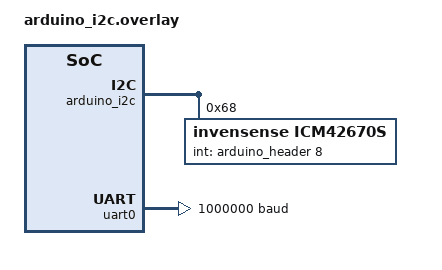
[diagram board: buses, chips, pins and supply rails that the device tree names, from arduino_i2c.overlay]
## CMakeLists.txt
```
#
# Copyright (c) 2019 TDK Invensense
#
# SPDX-License-Identifier: Apache-2.0
#

cmake_minimum_required(VERSION 3.20.0)
find_package(Zephyr REQUIRED HINTS $ENV{ZEPHYR_BASE})
project(icm42670S)

FILE(GLOB app_sources src/*.c)
target_sources(app PRIVATE ${app_sources})
```

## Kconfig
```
# Copyright (c) 2020, TDK Invensense
# SPDX-License-Identifier: Apache-2.0

config LOG
	default y

config LOG_PRINTK
	default y

config SENSOR_LOG_LEVEL
	default 4

# Enable SPI and I2C support by default so that the sample works with
# the device connected either way. These defaults can be overridden if
# needed.
config SPI
	default y

config I2C
	default y

# Enable APEX features support and choice between : 
# ICM42670S_APEX_PEDOMETER, ICM42670S_APEX_TILT, ICM42670S_APEX_SMD or ICM42670S_APEX_WOM

config ICM42670S_APEX
	default n

choice APEX_FEATURES
    default ICM42670S_APEX_PEDOMETER
endchoice

# Enable AML features support and choose the outputs :
# ICM42670S_AML_POINTING, Delta values for pointing 
# ICM42670S_AML_GESTURES, Orientation of the remote and detected swipes 
# ICM42670S_AML_GYR_OFFSET, Computed 3-axis raw gyroscope offsets
# ICM42670S_AML_QUATERNION, Computed W, X, Y and Z quaternion coefficients

config ICM42670S_AML
	default y

config ICM42670S_AML_POINTING
	default y
config ICM42670S_AML_GESTURES
	default n
config ICM42670S_AML_GYR_OFFSET
	default n
config ICM42670S_AML_QUATERNION
	default n

source "Kconfig.zephyr"
```

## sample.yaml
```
sample:
  name: ICM42670S Sensor sample
tests:
  sample.sensor.icm42670S:
    harness: console
    tags: sensors
    platform_allow:
      - arduino_zero
      - nrf52dk_nrf52832
    integration_platforms:
      - arduino_zero
      - nrf52dk_nrf52832
    harness_config:
      type: one_line
      regex:
        - "accel: (.*); gyro: (.*);"
      fixture: fixture_i2c_icm42670S
  sample.sensor.icm42670S.spi:
    harness: console
    tags: sensors
    depends_on:
      - spi
      - icm42670S
    extra_args: "DTC_OVERLAY_FILE=arduino_spi.overlay"
    harness_config:
      type: one_line
      regex:
        - "accel: (.*); gyro: (.*);"
      fixture: fixture_spi_icm42670S
   sample.sensor.icm42670S.i2c:
    harness: console
    tags: sensors
    depends_on:
      - i2c
      - icm42670S
    extra_args: "DTC_OVERLAY_FILE=arduino_i2c.overlay"
    harness_config:
      type: one_line
      regex:
        - "accel: (.*); gyro: (.*);"
      fixture: fixture_i2c_icm42670S
```

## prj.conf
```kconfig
#
# Copyright (c) 2019 TDK Invensense
#
# SPDX-License-Identifier: Apache-2.0
#

CONFIG_SENSOR=y

# Floating point format support
# Selecting this increases stack size requirements slightly, but increases code size significantly.
CONFIG_CBPRINTF_FP_SUPPORT=y

# Buffer size for console. The defaults are optimized to save RAM
CONFIG_CONSOLE_SUBSYS=y
CONFIG_CONSOLE_GETCHAR=y
CONFIG_CONSOLE_GETCHAR_BUFSIZE=16
CONFIG_CONSOLE_PUTCHAR_BUFSIZE=512
```

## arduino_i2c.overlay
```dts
/*
 * Copyright (c) 2020, TDK Invensense
 *
 * SPDX-License-Identifier: Apache-2.0
 */

/*
 * Example configuration of a ICM42670S device on an Arduino I2C bus.
 *
 * Device address 0x68 is assumed. Your device may have a different
 * address; check your device documentation if unsure.
 */
&arduino_i2c {
	status = "okay";
	icm42670S@68 {
		compatible = "invensense,icm42670S";
		reg = <0x68>;
		int-gpios = <&arduino_header 8 GPIO_ACTIVE_HIGH>; /* D2 */
	};
};

/*
 * Increase native UART speed to report all IMU data at 100Hz.
 */
&uart0 {
	compatible = "nordic,nrf-uarte";
	status = "okay";
	current-speed = <1000000>;
};
```

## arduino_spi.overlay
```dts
/*
 * Copyright (c) 2020, TDK Invensense
 *
 * SPDX-License-Identifier: Apache-2.0
 */

/* Example configuration of a ICM42670S device on an Arduino SPI bus. */
&arduino_spi {
	status = "okay";
	cs-gpios = <&arduino_header 16 GPIO_ACTIVE_LOW>;
	icm42670S@0 {
		compatible = "invensense,icm42670S";
		reg = <0>;
		spi-max-frequency = <1000000>; /* conservatively set to 1MHz */
		int-gpios = <&gpio0 2 GPIO_ACTIVE_HIGH>;
	};
};

/*
 * Increase native UART speed to report all IMU data at 100Hz.
 */
&uart0 {
	compatible = "nordic,nrf-uarte";
	status = "okay";
	current-speed = <1000000>;
};
```

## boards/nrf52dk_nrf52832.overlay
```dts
/*
 * Copyright (c) 2020 TDK Invensense
 *
 * SPDX-License-Identifier: Apache-2.0
 */

&pinctrl {
	spi0_default_alt: spi0_default_alt {
		group1 {
			psels = <NRF_PSEL(SPIM_SCK, 0, 27)>,
				<NRF_PSEL(SPIM_MOSI, 0, 26)>,
				<NRF_PSEL(SPIM_MISO, 0, 23)>;
		};
	};

	spi0_sleep_alt: spi0_sleep_alt {
		group1 {
			psels = <NRF_PSEL(SPIM_SCK, 0, 27)>,
				<NRF_PSEL(SPIM_MOSI, 0, 26)>,
				<NRF_PSEL(SPIM_MISO, 0, 23)>;
			low-power-enable;
		};
	};
};

&spi0 {
	compatible = "nordic,nrf-spi";
	status = "okay";
	pinctrl-0 = <&spi0_default_alt>;
	pinctrl-1 = <&spi0_sleep_alt>;
	pinctrl-names = "default", "sleep";
	cs-gpios = <&gpio0 22 GPIO_ACTIVE_LOW>;
	icm42605@0 {
		compatible = "invensense,icm42670S";
		spi-max-frequency = <24000000>;
		reg = <0>;
		int-gpios = <&gpio0 18 GPIO_ACTIVE_HIGH>;
	};
};
```

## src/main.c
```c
/*
 * Copyright (c) 2020 TDK Invensense
 *
 * SPDX-License-Identifier: Apache-2.0
 */

#include <zephyr/kernel.h>
#include <zephyr/device.h>
#include <zephyr/devicetree.h>
#include <zephyr/drivers/sensor.h>
#include <zephyr/drivers/sensor/icm42670S.h>
#include <stdio.h>

static struct sensor_trigger data_trigger;

/* Flag set from IMU device irq handler */
static volatile int irq_from_device = 0;

/*
 * Get a device structure from a devicetree node with compatible
 * "invensense,icm42670S". (If there are multiple, just pick one.)
 */
static const struct device *get_icm42670S_device(void)
{
	const struct device *const dev = DEVICE_DT_GET_ANY(invensense_icm42670s);

	if (dev == NULL) {
		/* No such node, or the node does not have status "okay". */
		printk("\nError: no device found.\n");
		return NULL;
	}

	if (!device_is_ready(dev)) {
		printk("\nError: Device \"%s\" is not ready; "
		       "check the driver initialization logs for errors.\n",
		       dev->name);
		return NULL;
	}

	printk("Found device \"%s\", getting sensor data\n", dev->name);
	return dev;
}


static const char *now_str(void)
{
	static char buf[16]; /* ...HH:MM:SS.MMM */
	uint32_t now = k_uptime_get_32();
	unsigned int ms = now % MSEC_PER_SEC;
	unsigned int s;
	unsigned int min;
	unsigned int h;

	now /= MSEC_PER_SEC;
	s = now % 60U;
	now /= 60U;
	min = now % 60U;
	now /= 60U;
	h = now;

	snprintf(buf, sizeof(buf), "%u:%02u:%02u.%03u",
		 h, min, s, ms);
	return buf;
}

static void handle_icm42670S_drdy(const struct device *dev,
				 const struct sensor_trigger *trig)
{
	if ((trig->type == SENSOR_TRIG_DATA_READY) || (trig->type == SENSOR_TRIG_MOTION)) {
		int rc = sensor_sample_fetch_chan(dev, trig->chan);
	
		if (rc < 0) { 
			printf("sample fetch failed: %d\n", rc);
			printf("cancelling trigger due to failure: %d\n", rc);
			(void)sensor_trigger_set(dev, trig, NULL);
			return;
		} else if (rc == 0) {
			irq_from_device = 1;
		}
	}
}

int main(void)
{
	const struct device *dev = get_icm42670S_device();

	if (dev == NULL) {
		return 0;
	}
				
#ifdef CONFIG_ICM42670S_APEX
	struct sensor_value apex_mode;
	
	/* Setting APEX Pedometer feature */
 #ifdef CONFIG_ICM42670S_APEX_PEDOMETER
	apex_mode.val1 = ICM42670S_APEX_PEDOMETER;
 #endif
 #ifdef CONFIG_ICM42670S_APEX_TILT
	apex_mode.val1 = ICM42670S_APEX_TILT;
 #endif
 #ifdef CONFIG_ICM42670S_APEX_WOM
	apex_mode.val1 = ICM42670S_APEX_WOM;
 #endif
 #ifdef CONFIG_ICM42670S_APEX_SMD
	apex_mode.val1 = ICM42670S_APEX_SMD;
 #endif
	apex_mode.val2 = 0;
	sensor_attr_set(dev, SENSOR_CHAN_APEX_MOTION,
				SENSOR_ATTR_CONFIGURATION,
				&apex_mode);
	
	data_trigger = (struct sensor_trigger) {
		.type = SENSOR_TRIG_MOTION,
		.chan = SENSOR_CHAN_APEX_MOTION,
	};
	if (sensor_trigger_set(dev, &data_trigger,
			       handle_icm42670S_drdy) < 0) {
		printf("Cannot configure data trigger!!!\n");
		return 0;
	}

	printf("Configured for APEX data collecting.\n");
#elif defined(CONFIG_ICM42670S_AML)
	struct sensor_value aml_config;
	
	aml_config.val1 = 15; /* Delta Gain X */
	aml_config.val2 = 15; /* Delta Gain Y */
	sensor_attr_set(dev, SENSOR_CHAN_AML,
				SENSOR_ATTR_CONFIGURATION,
				&aml_config);

	data_trigger = (struct sensor_trigger) {
		.type = SENSOR_TRIG_DATA_READY,
		.chan = SENSOR_CHAN_AML,
	};
	if (sensor_trigger_set(dev, &data_trigger,
			       handle_icm42670S_drdy) < 0) {
		printf("Cannot configure data trigger!!!\n");
		return 0;
	}
	
	printf("Configured for AML data collecting.\n");
#else
	struct sensor_value full_scale, bw_filter, sampling_freq, mode;
	struct sensor_value accel[3];
	struct sensor_value gyro[3];
	struct sensor_value temperature;
	
	/* Setting full scale */
	full_scale.val1 = 2; /* G */
	full_scale.val2 = 0;
	sensor_attr_set(dev, SENSOR_CHAN_ACCEL_XYZ,
				SENSOR_ATTR_FULL_SCALE,
				&full_scale);
	full_scale.val1 = 1000; /* dps */
	full_scale.val2 = 0;
	sensor_attr_set(dev, SENSOR_CHAN_GYRO_XYZ,
				SENSOR_ATTR_FULL_SCALE,
				&full_scale);
				
	/* Setting LN bandwith filtering options */
	bw_filter.val1 = 180; /* Hz */
	bw_filter.val2 = 0;
	sensor_attr_set(dev, SENSOR_CHAN_ACCEL_XYZ,
				SENSOR_ATTR_BW_FILTER_LPF,
				&bw_filter);
	sensor_attr_set(dev, SENSOR_CHAN_GYRO_XYZ,
				SENSOR_ATTR_BW_FILTER_LPF,
				&bw_filter);
	
	/* Setting sampling frequency */
	sampling_freq.val1 = 100;       /* Hz */
	sampling_freq.val2 = 0;
	sensor_attr_set(dev, SENSOR_CHAN_ACCEL_XYZ,
			SENSOR_ATTR_SAMPLING_FREQUENCY,
			&sampling_freq);
	sensor_attr_set(dev, SENSOR_CHAN_GYRO_XYZ,
			SENSOR_ATTR_SAMPLING_FREQUENCY,
			&sampling_freq);
	
	/* Setting mode 0:Off, 1:Low power (only Accel) 2:Low noise */
	mode.val1 = ICM42670S_LOW_NOISE_MODE;	
	sensor_attr_set(dev, SENSOR_CHAN_ACCEL_XYZ,
			SENSOR_ATTR_CONFIGURATION,
			&mode);
	sensor_attr_set(dev, SENSOR_CHAN_GYRO_XYZ,
			SENSOR_ATTR_CONFIGURATION,
			&mode);
	
	data_trigger = (struct sensor_trigger) {
		.type = SENSOR_TRIG_DATA_READY,
		.chan = SENSOR_CHAN_ALL,
	};
	if (sensor_trigger_set(dev, &data_trigger,
			       handle_icm42670S_drdy) < 0) {
		printf("Cannot configure data trigger!!!\n");
		return 0;
	}

	printf("Configured for IMU sampling.\n");
#endif

	k_sleep(K_MSEC(1000));
	
	while (1) {
		
		if( irq_from_device ) {
#ifdef CONFIG_ICM42670S_APEX 
 #ifdef CONFIG_ICM42670S_APEX_PEDOMETER
			struct sensor_value apex_pedometer[3];
			sensor_channel_get(dev, SENSOR_CHAN_APEX_MOTION,
							apex_pedometer);
			
			printf("[%s]: STEP_DET     count: %d steps  cadence: %.1f steps/s  activity: %s\n",
				   now_str(),
				   apex_pedometer[0].val1,
				   sensor_value_to_double(&apex_pedometer[2]),
				   apex_pedometer[1].val1 == 1 ? "Walk":
				   apex_pedometer[1].val1 == 2 ? "Run":
											  "Unknown");
 #endif
 #ifdef CONFIG_ICM42670S_APEX_TILT
			printf("[%s]: TILT\n", now_str());
 #endif
 #ifdef CONFIG_ICM42670S_APEX_WOM
			struct sensor_value apex_wom[3];
			sensor_channel_get(dev, SENSOR_CHAN_APEX_MOTION,
							apex_wom);
			
			printf("[%s]: WOM x=%d y=%d z=%d\n", 
					now_str(),
					apex_wom[0].val1,
					apex_wom[1].val1,
					apex_wom[2].val1);
 #endif
 #ifdef CONFIG_ICM42670S_APEX_SMD
			printf("[%s]: SMD\n", now_str());
 #endif
#elif defined(CONFIG_ICM42670S_AML)
 #ifdef CONFIG_ICM42670S_AML_POINTING
			struct sensor_value pointing_data[2];
			sensor_channel_get(dev, SENSOR_CHAN_AML_OUTPUT_DELTA_POINTING,
							pointing_data);
			
			printf("[%s]: AML Pointing Delta=[%d, %d]\n",
				   now_str(),
				   pointing_data[0].val1, pointing_data[0].val1);
 #endif
 #ifdef CONFIG_ICM42670S_AML_GESTURES
 			struct sensor_value aml_data[3];
			static uint8_t previous_position = 0, previous_status = 0;
			sensor_channel_get(dev, SENSOR_CHAN_AML_OUTPUT_GESTURES,
							aml_data);
			   
			if (aml_data[0].val1 & ICM42670S_AML_SWIPE_LEFT) 
				printf("[%s]: AML Gestures: Swipe Left \n", now_str());
			if (aml_data[0].val1 & ICM42670S_AML_SWIPE_RIGTH)
				printf("[%s]: AML Gestures: Swipe Rigth \n", now_str());
			if (aml_data[0].val1 & ICM42670S_AML_SWIPE_UP) 
				printf("[%s]: AML Gestures: Swipe Up \n", now_str());
			if (aml_data[0].val1 & ICM42670S_AML_SWIPE_DOWN)
				printf("[%s]: AML Gestures: Swipe Down \n", now_str());
			if (aml_data[0].val1 & ICM42670S_AML_SWIPE_CLOCKWISE)
				printf("[%s]: AML Gestures: Swipe Clockwise \n", now_str());
			if (aml_data[0].val1 & ICM42670S_AML_SWIPE_COUNTERCLOCKWISE)
				printf("[%s]: AML Gestures: Swipe Counter Clockwise \n", now_str());
				
			if (aml_data[1].val1 != previous_position) {
				printf("[%s]: AML Remote position: %s \n",
					   now_str(),			   
					   aml_data[1].val1 == ICM42670S_AML_TOP ?    "Top":
					   aml_data[1].val1 == ICM42670S_AML_BOTTOM ? "Bottom":
					   aml_data[1].val1 == ICM42670S_AML_LEFT ?   "Left":
					   aml_data[1].val1 == ICM42670S_AML_RIGHT ?  "Right":
					   aml_data[1].val1 == ICM42670S_AML_FRONT ?  "Front":
					   aml_data[1].val1 == ICM42670S_AML_REAR ?   "Rear":"Unknown");
				previous_position = aml_data[1].val1;
			}
			
			if (aml_data[2].val1 != previous_status) {
				printf("[%s]: AML Remote status: %s \n",
					   now_str(),
					   aml_data[2].val1 == 1 ? "Static" : "Non-static");
				previous_status = aml_data[2].val1;
			}
 #endif
 #ifdef CONFIG_ICM42670S_AML_GYR_OFFSET
			struct sensor_value gyr_offset[3];
			static struct sensor_value previous_gyr_offset[3];
			sensor_channel_get(dev, SENSOR_CHAN_AML_OUTPUT_GYRO_CALIBRATTION,
							gyr_offset);
			
			if (memcmp(gyr_offset, previous_gyr_offset, sizeof(struct sensor_value)) != 0) {
				printf("[%s]: AML Gyro biases: %f %f %f rad/s\n",
						now_str(),
						sensor_value_to_double(&gyr_offset[0]),
						sensor_value_to_double(&gyr_offset[1]),
						sensor_value_to_double(&gyr_offset[2]));
				memcpy(previous_gyr_offset, gyr_offset, sizeof(struct sensor_value));
			}
 #endif
 #ifdef CONFIG_ICM42670S_AML_QUATERNION
			struct sensor_value quaternion[4];
			sensor_channel_get(dev, SENSOR_CHAN_AML_OUTPUT_QUATERNION,
							quaternion);
			
			printf("[%s]:AML Quaternion=[%f %f %f %f]\n",
					now_str(),
					sensor_value_to_double(&quaternion[0]),
					sensor_value_to_double(&quaternion[1]),
					sensor_value_to_double(&quaternion[2]),
					sensor_value_to_double(&quaternion[3]));
 #endif
#else
			sensor_channel_get(dev, SENSOR_CHAN_ACCEL_XYZ,
							accel);
			sensor_channel_get(dev, SENSOR_CHAN_GYRO_XYZ,
							gyro);
			sensor_channel_get(dev, SENSOR_CHAN_DIE_TEMP,
							&temperature);
	
			printf("[%s]: temp %.2f Cel "
				   "  accel %f %f %f m/s/s "
				   "  gyro  %f %f %f rad/s\n",
				   now_str(),
				   sensor_value_to_double(&temperature),
				   sensor_value_to_double(&accel[0]),
				   sensor_value_to_double(&accel[1]),
				   sensor_value_to_double(&accel[2]),
				   sensor_value_to_double(&gyro[0]),
				   sensor_value_to_double(&gyro[1]),
				   sensor_value_to_double(&gyro[2]));
#endif
			irq_from_device = 0;
		}
	}
	return 0;
}
```
